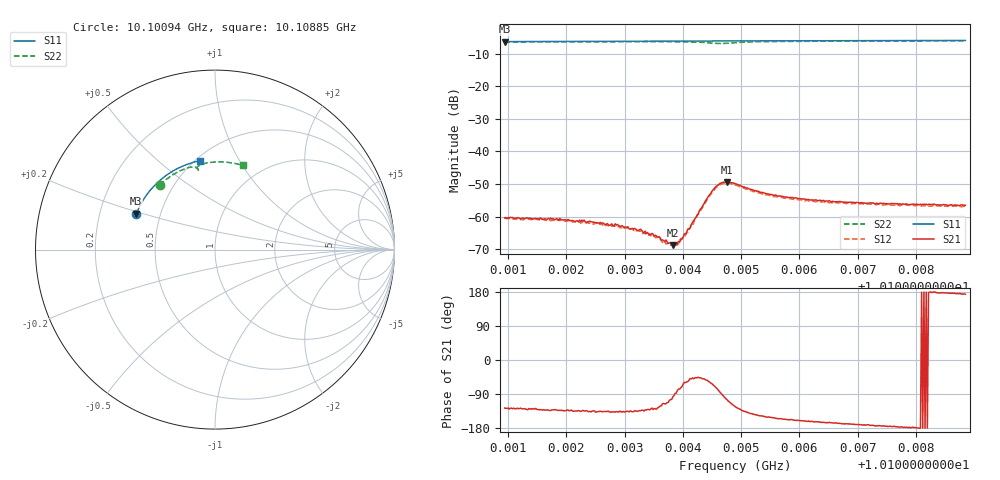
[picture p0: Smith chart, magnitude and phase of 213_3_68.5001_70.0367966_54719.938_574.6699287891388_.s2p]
#  HZ  S  RI  R  50.00
! Rohde & Schwarz Vector Network Analyzer
! Rohde-Schwarz,ZNB20-2Port,1311601062101988,3.16
! Created: UTC 3/20/2024, 4:58:07 PM
! freq[Hz]  re:S11  im:S11  re:S21  im:S21  re:S12  im:S12  re:S22  im:S22
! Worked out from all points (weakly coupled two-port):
!   401 points, 10.10094 GHz to 10.10885 GHz, reference 50 ohm
!   highest |S21| = -49.31 dB at 10.10476 GHz (marker M1); lowest = -68.7 dB at 10.10383 GHz (marker M2)
!   lowest |S11| = -6.3 dB at 10.10094 GHz (marker M3), VSWR 2.86, Z = 18.2 + j9.48 ohm
!   |S11| at or under -10 dB: nowhere
!   |S22| runs from -6.9 to -6.1 dB; largest |S21 - S12| = 0.00034
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1.0100937e10  -0.4382 0.2  -0.000578 -0.000768  -0.000507 -0.000805  -0.3086 0.3602
1.0101887e10  -0.4139 0.2525  -0.000642 -0.000689  -0.000543 -0.000684  -0.2611 0.3994
1.0102263e10  -0.4025 0.2723  -0.000622 -0.000633  -0.000548 -0.000616  -0.2407 0.4133
1.0102876e10  -0.3818 0.3035  -0.000552 -0.000528  -0.000446 -0.000535  -0.2055 0.4335
1.0103014e10  -0.377 0.3101  -0.000505 -0.000477  -0.000466 -0.000502  -0.1973 0.4377
1.0103252e10  -0.3682 0.3217  -0.000433 -0.000455  -0.000392 -0.00045  -0.1828 0.4443
1.0103588e10  -0.3551 0.3375  -0.000281 -0.00041  -0.000202 -0.000419  -0.1607 0.4528
1.0103687e10  -0.3512 0.342  -0.000181 -0.000371  -0.000157 -0.00039  -0.1541 0.4551
1.0103826e10  -0.3455 0.3481  -4.78e-05 -0.000364  -4.46e-06 -0.000378  -0.1442 0.4577
1.0103905e10  -0.3423 0.3517  6.68e-05 -0.000385  8.14e-05 -0.000358  -0.1383 0.4589
1.0104043e10  -0.3364 0.3578  0.000275 -0.000473  0.000308 -0.000418  -0.1277 0.4605
1.0104142e10  -0.3323 0.3621  0.000484 -0.000577  0.000511 -0.000544  -0.1196 0.4607
1.0104419e10  -0.3201 0.3736  0.00114 -0.00155  0.00121 -0.00139  -0.0974 0.4533
1.0104538e10  -0.3149 0.3784  0.00098 -0.00252  0.00117 -0.00233  -0.0937 0.4446
1.0104637e10  -0.3104 0.3824  0.000275 -0.00323  0.000551 -0.00305  -0.0971 0.4398
1.0104756e10  -0.3051 0.3871  -0.000868 -0.00331  -0.000551 -0.00325  -0.103 0.443
1.0104894e10  -0.2989 0.3927  -0.00174 -0.0027  -0.00142 -0.00272  -0.1026 0.4535
1.0105191e10  -0.2847 0.4039  -0.00204 -0.00161  -0.00181 -0.00166  -0.0851 0.4702
1.0105547e10  -0.2675 0.4166  -0.00189 -0.001  -0.00174 -0.00108  -0.06 0.4796
1.010622e10  -0.2332 0.4386  -0.00173 -0.000551  -0.00162 -0.000659  -0.0143 0.4872
1.0107545e10  -0.1607 0.473  -0.00157 -0.000151  -0.0015 -0.00026  0.0722 0.486
1.0108851e10  -0.0848 0.4946  -0.00149 0.000162  -0.00145 1.75e-05  0.1541 0.4694
